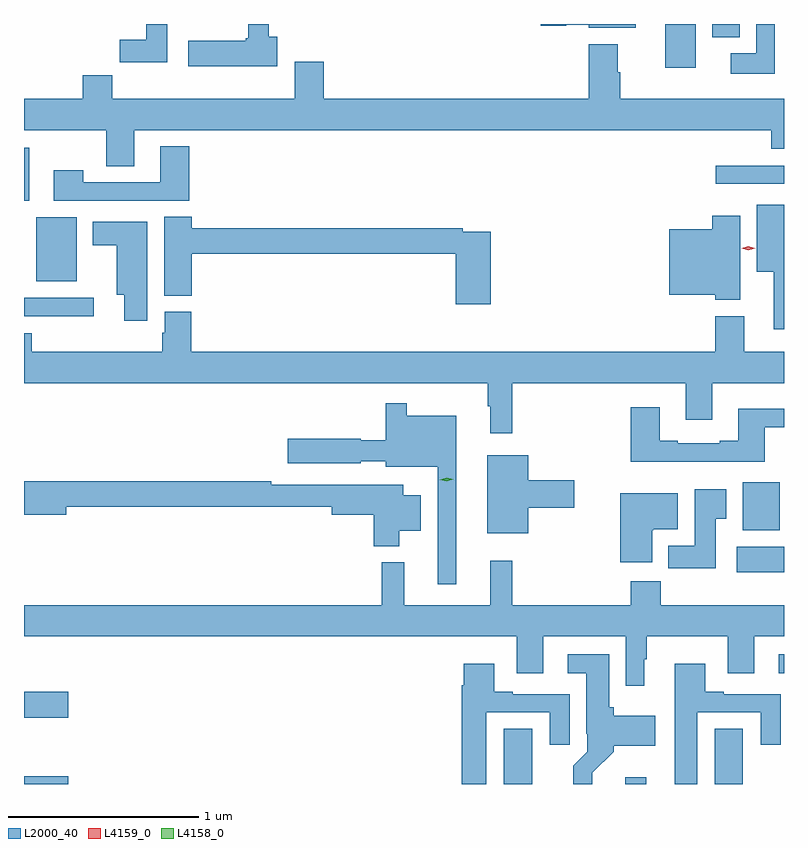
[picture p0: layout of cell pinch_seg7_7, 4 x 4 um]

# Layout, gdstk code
import gdstk
lib = gdstk.Library(unit=1e-6, precision=1e-09)
def R(c, l, rs):  # rectangles x0, y0, x1, y1
    for r in rs: c.add(gdstk.rectangle(r[:2], r[2:], *l))
def P(c, l, *ps):  # polygons
    for p in ps: c.add(gdstk.Polygon(p, *l))
L2000_40 = (2000, 40)
L4158_0 = (4158, 0)
L4159_0 = (4159, 0)

pinch_seg7_7 = lib.new_cell('pinch_seg7_7')
R(pinch_seg7_7, L2000_40, [(1033.299,1047.79,1033.531,1047.831), (1035.824,1047.79,1035.973,1048.082), (1036.463,1047.79,1036.573,1047.826), (1036.934,1047.79,1037.083,1048.082), (1033.299,1048.138,1033.531,1048.275), (1037.271,1048.373,1037.299,1048.474), (1037.049,1048.904,1037.299,1049.038), (1037.081,1049.126,1037.277,1049.377), (1033.299,1050.251,1033.666,1050.348), (1033.364,1050.437,1033.576,1050.772), (1033.299,1050.86,1033.327,1051.138), (1036.941,1050.948,1037.299,1051.044), (1036.673,1051.56,1036.834,1051.79), (1036.922,1051.721,1037.065,1051.79)])
P(pinch_seg7_7, L2000_40, [(1037.25,1051.79),(1037.154,1051.79),(1037.154,1051.636),(1037.019,1051.636),(1037.019,1051.529),(1037.25,1051.529)],
  [(1036.519,1051.79),(1036.02,1051.79),(1036.02,1051.78),(1036.152,1051.78),(1036.152,1051.787),(1036.272,1051.787),(1036.272,1051.769),(1036.519,1051.769)],
  [(1034.053,1051.79),(1033.943,1051.79),(1033.943,1051.708),(1033.804,1051.708),(1033.804,1051.59),(1034.053,1051.59)],
  [(1034.632,1051.722),(1034.587,1051.722),(1034.587,1051.79),(1034.48,1051.79),(1034.48,1051.716),(1034.467,1051.716),(1034.467,1051.702),(1034.163,1051.702),(1034.163,1051.568),(1034.632,1051.568)],
  [(1033.879,1051.232),(1037.231,1051.232),(1037.231,1051.133),(1037.299,1051.133),(1037.299,1051.396),(1036.436,1051.396),(1036.436,1051.535),(1036.423,1051.535),(1036.423,1051.684),(1036.271,1051.684),(1036.271,1051.396),(1034.876,1051.396),(1034.876,1051.591),(1034.723,1051.591),(1034.723,1051.396),(1033.763,1051.396),(1033.763,1051.52),(1033.607,1051.52),(1033.607,1051.396),(1033.299,1051.396),(1033.299,1051.232),(1033.732,1051.232),(1033.732,1051.042),(1033.879,1051.042)],
  [(1034.168,1051.147),(1034.015,1051.147),(1034.015,1050.957),(1033.611,1050.957),(1033.611,1051.021),(1033.455,1051.021),(1033.455,1050.861),(1034.168,1050.861)],
  [(1037.299,1050.838),(1037.156,1050.838),(1037.156,1050.485),(1037.246,1050.485),(1037.246,1050.183),(1037.299,1050.183)],
  [(1037.068,1050.781),(1036.922,1050.781),(1036.922,1050.709),(1036.694,1050.709),(1036.694,1050.365),(1036.938,1050.365),(1036.938,1050.338),(1037.068,1050.338)],
  [(1035.755,1050.696),(1035.608,1050.696),(1035.608,1050.716),(1034.183,1050.716),(1034.183,1050.776),(1034.036,1050.776),(1034.036,1050.361),(1034.183,1050.361),(1034.183,1050.58),(1035.572,1050.58),(1035.572,1050.315),(1035.755,1050.315)],
  [(1033.948,1050.748),(1033.661,1050.748),(1033.661,1050.626),(1033.787,1050.626),(1033.787,1050.365),(1033.826,1050.365),(1033.826,1050.228),(1033.948,1050.228)],
  [(1035.869,1049.9),(1036.781,1049.9),(1036.781,1049.706),(1036.921,1049.706),(1036.921,1049.9),(1037.299,1049.9),(1037.299,1050.064),(1037.089,1050.064),(1037.089,1050.253),(1036.937,1050.253),(1036.937,1050.064),(1034.18,1050.064),(1034.18,1050.276),(1034.039,1050.276),(1034.039,1050.165),(1034.027,1050.165),(1034.027,1050.064),(1033.34,1050.064),(1033.34,1050.163),(1033.299,1050.163),(1033.299,1049.9),(1035.741,1049.9),(1035.741,1049.777),(1035.752,1049.777),(1035.752,1049.637),(1035.869,1049.637)],
  [(1035.574,1049.728),(1035.313,1049.728),(1035.313,1049.794),(1035.203,1049.794),(1035.203,1049.599),(1035.072,1049.599),(1035.072,1049.607),(1034.688,1049.607),(1034.688,1049.477),(1035.072,1049.477),(1035.072,1049.49),(1035.203,1049.49),(1035.203,1049.459),(1035.477,1049.459),(1035.477,1048.842),(1035.574,1048.842)],
  [(1037.197,1049.667),(1037.299,1049.667),(1037.299,1049.764),(1037.057,1049.764),(1037.057,1049.596),(1036.961,1049.596),(1036.961,1049.583),(1036.741,1049.583),(1036.741,1049.596),(1036.645,1049.596),(1036.645,1049.773),(1036.493,1049.773),(1036.493,1049.486),(1037.197,1049.486)],
  [(1035.952,1049.243),(1036.195,1049.243),(1036.195,1049.39),(1035.952,1049.39),(1035.952,1049.521),(1035.737,1049.521),(1035.737,1049.111),(1035.952,1049.111)],
  [(1035.274,1049.123),(1035.388,1049.123),(1035.388,1049.311),(1035.294,1049.311),(1035.294,1049.365),(1035.022,1049.365),(1035.022,1049.364),(1034.6,1049.364),(1034.6,1049.384),(1033.299,1049.384),(1033.299,1049.206),(1033.522,1049.206),(1033.522,1049.248),(1034.918,1049.248),(1034.918,1049.206),(1035.14,1049.206),(1035.14,1049.042),(1035.274,1049.042)],
  [(1036.939,1049.185),(1036.996,1049.185),(1036.996,1049.341),(1036.829,1049.341),(1036.829,1049.044),(1036.691,1049.044),(1036.691,1048.926),(1036.939,1048.926)],
  [(1036.606,1049.126),(1036.612,1049.126),(1036.612,1049.132),(1036.741,1049.132),(1036.741,1049.32),(1036.436,1049.32),(1036.436,1048.956),(1036.606,1048.956)],
  [(1036.564,1048.446),(1036.576,1048.446),(1036.576,1048.568),(1037.003,1048.568),(1037.003,1048.374),(1037.143,1048.374),(1037.143,1048.568),(1037.299,1048.568),(1037.299,1048.732),(1036.649,1048.732),(1036.649,1048.856),(1036.493,1048.856),(1036.493,1048.732),(1035.869,1048.732),(1035.869,1048.966),(1035.752,1048.966),(1035.752,1048.732),(1035.299,1048.732),(1035.299,1048.957),(1035.181,1048.957),(1035.181,1048.732),(1033.299,1048.732),(1033.299,1048.568),(1035.893,1048.568),(1035.893,1048.374),(1036.033,1048.374),(1036.033,1048.568),(1036.467,1048.568),(1036.467,1048.308),(1036.564,1048.308)],
  [(1036.291,1047.848),(1036.404,1047.961),(1036.404,1047.992),(1036.621,1047.992),(1036.621,1048.15),(1036.404,1048.15),(1036.404,1048.194),(1036.378,1048.194),(1036.378,1048.474),(1036.161,1048.474),(1036.161,1048.373),(1036.259,1048.373),(1036.259,1048.054),(1036.263,1048.054),(1036.263,1047.96),(1036.189,1047.886),(1036.189,1047.79),(1036.291,1047.79)],
  [(1036.843,1048.167),(1037.177,1048.167),(1037.177,1047.996),(1037.281,1047.996),(1037.281,1048.263),(1036.981,1048.263),(1036.981,1048.276),(1036.885,1048.276),(1036.885,1048.423),(1036.724,1048.423),(1036.724,1047.79),(1036.843,1047.79)],
  [(1035.733,1048.167),(1036.067,1048.167),(1036.067,1047.996),(1036.171,1047.996),(1036.171,1048.263),(1035.871,1048.263),(1035.871,1048.276),(1035.775,1048.276),(1035.775,1048.423),(1035.614,1048.423),(1035.614,1048.31),(1035.602,1048.31),(1035.602,1047.79),(1035.733,1047.79)])
P(pinch_seg7_7, L4158_0, [(1035.523,1049.383),(1035.488,1049.391),(1035.488,1049.391),(1035.488,1049.392),(1035.523,1049.403),(1035.558,1049.394),(1035.559,1049.394),(1035.558,1049.394)])
P(pinch_seg7_7, L4159_0, [(1037.112,1050.6),(1037.076,1050.609),(1037.075,1050.609),(1037.076,1050.61),(1037.112,1050.62),(1037.148,1050.611),(1037.148,1050.611),(1037.148,1050.61)])

lib.write_gds('pinch_seg7_7.gds')
